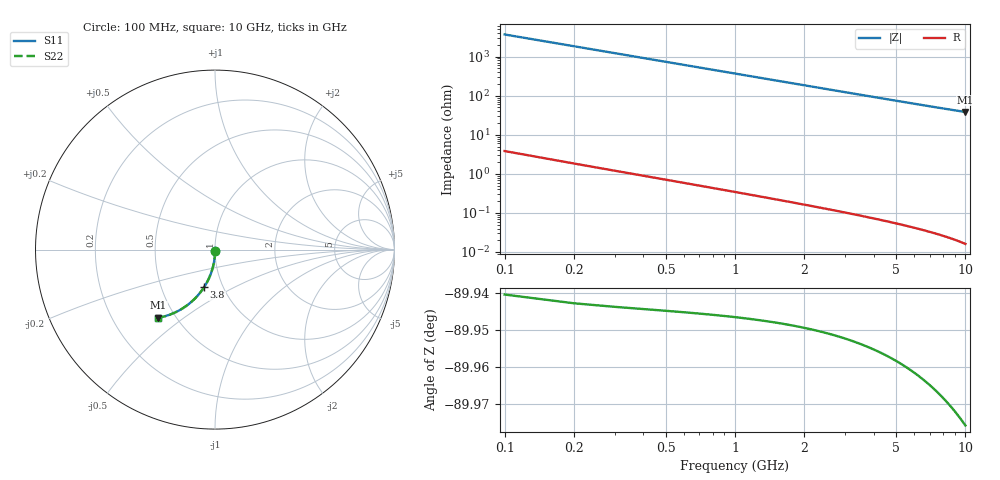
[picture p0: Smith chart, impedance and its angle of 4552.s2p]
# Hz S RI R 50.00
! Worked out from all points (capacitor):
!   100 points, 100 MHz to 10 GHz, reference 50 ohm
!   read as one part in shunt: C = 431 fF near 100 MHz
!   lowest |Z| = 38.4 ohm at 10 GHz (marker M1)
!   S11 on the Smith chart (normalised r, x): 100 MHz: 1.00, -0.01; 3.8 GHz: 0.82, -0.36; 10 GHz: 0.40, -0.41
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1e8  0.000894 -0.0059  0.999 -0.00763  0.999 -0.00763  0.000894 -0.0059
2e8  0.000759 -0.0118  0.9988 -0.0153  0.9988 -0.0153  0.000759 -0.0118
3e8  0.000532 -0.0177  0.9986 -0.0229  0.9986 -0.0229  0.000532 -0.0177
4e8  0.000214 -0.0236  0.9983 -0.0305  0.9983 -0.0305  0.000214 -0.0236
5e8  -0.000193 -0.0295  0.9978 -0.0381  0.9978 -0.0381  -0.000193 -0.0295
6e8  -0.000691 -0.0353  0.9973 -0.0457  0.9973 -0.0457  -0.000691 -0.0353
7e8  -0.00128 -0.0412  0.9967 -0.0533  0.9967 -0.0533  -0.00128 -0.0412
8e8  -0.00195 -0.0471  0.996 -0.0609  0.996 -0.0609  -0.00195 -0.0471
9e8  -0.00272 -0.0529  0.9952 -0.0684  0.9952 -0.0684  -0.00272 -0.0529
1.1e9  -0.00451 -0.0645  0.9933 -0.0835  0.9933 -0.0835  -0.00451 -0.0645
1.4e9  -0.00786 -0.0818  0.9899 -0.106  0.9899 -0.106  -0.00786 -0.0818
1.8e9  -0.0135 -0.1045  0.984 -0.1356  0.984 -0.1356  -0.0135 -0.1045
2.1e9  -0.0186 -0.1212  0.9787 -0.1575  0.9787 -0.1575  -0.0186 -0.1212
2.5e9  -0.0266 -0.143  0.9705 -0.1862  0.9705 -0.1862  -0.0266 -0.143
2.9e9  -0.0357 -0.1641  0.961 -0.2143  0.961 -0.2143  -0.0357 -0.1641
3.4e9  -0.0488 -0.1895  0.9474 -0.2483  0.9474 -0.2483  -0.0488 -0.1895
3.8e9  -0.0605 -0.2089  0.9353 -0.2746  0.9353 -0.2746  -0.0605 -0.2089
4.4e9  -0.0798 -0.2362  0.9152 -0.3124  0.9152 -0.3124  -0.0798 -0.2362
5.1e9  -0.1048 -0.2654  0.8892 -0.3537  0.8892 -0.3537  -0.1048 -0.2654
6.7e9  -0.1691 -0.32  0.8219 -0.4364  0.8219 -0.4364  -0.1691 -0.32
8.4e9  -0.2437 -0.3593  0.7433 -0.5057  0.7433 -0.5057  -0.2437 -0.3593
1e10  -0.3149 -0.3798  0.6673 -0.5548  0.6673 -0.5548  -0.3149 -0.3798
